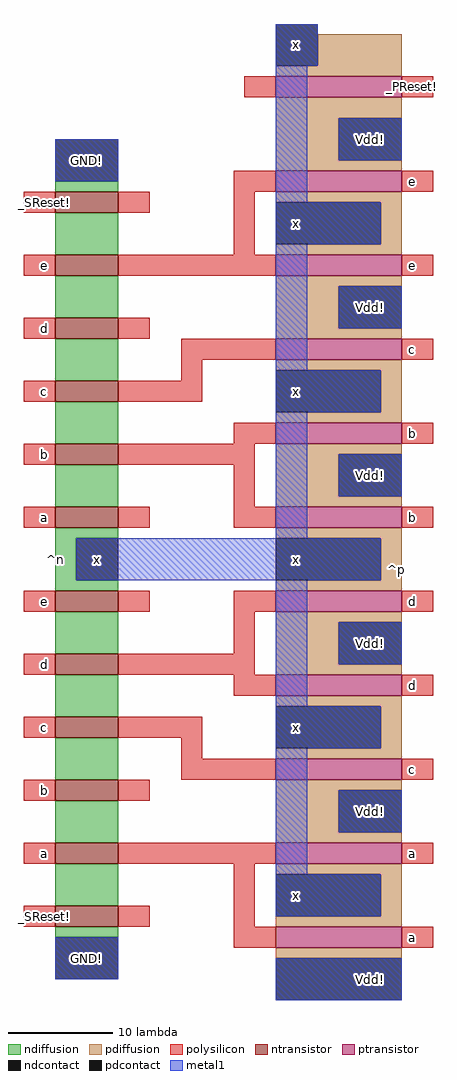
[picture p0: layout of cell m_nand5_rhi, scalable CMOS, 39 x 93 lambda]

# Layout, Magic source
magic
tech scmos
<< ndiffusion >>
rect -220 -724 -214 -723
rect -220 -730 -214 -726
rect -220 -736 -214 -732
rect -220 -742 -214 -738
rect -220 -748 -214 -744
rect -220 -754 -214 -750
rect -220 -757 -214 -756
rect -220 -761 -218 -757
rect -220 -762 -214 -761
rect -220 -768 -214 -764
rect -220 -774 -214 -770
rect -220 -780 -214 -776
rect -220 -786 -214 -782
rect -220 -792 -214 -788
rect -220 -795 -214 -794
<< pdiffusion >>
rect -195 -712 -187 -709
rect -199 -713 -187 -712
rect -199 -717 -187 -715
rect -199 -721 -193 -717
rect -199 -722 -187 -721
rect -199 -725 -187 -724
rect -189 -729 -187 -725
rect -199 -730 -187 -729
rect -199 -733 -187 -732
rect -199 -737 -193 -733
rect -199 -738 -187 -737
rect -199 -741 -187 -740
rect -189 -745 -187 -741
rect -199 -746 -187 -745
rect -199 -749 -187 -748
rect -199 -753 -193 -749
rect -199 -754 -187 -753
rect -199 -757 -187 -756
rect -189 -761 -187 -757
rect -199 -762 -187 -761
rect -199 -765 -187 -764
rect -199 -769 -193 -765
rect -199 -770 -187 -769
rect -199 -773 -187 -772
rect -189 -777 -187 -773
rect -199 -778 -187 -777
rect -199 -781 -187 -780
rect -199 -785 -193 -781
rect -199 -786 -187 -785
rect -199 -789 -187 -788
rect -189 -793 -187 -789
rect -199 -794 -187 -793
rect -199 -797 -187 -796
<< ntransistor >>
rect -220 -726 -214 -724
rect -220 -732 -214 -730
rect -220 -738 -214 -736
rect -220 -744 -214 -742
rect -220 -750 -214 -748
rect -220 -756 -214 -754
rect -220 -764 -214 -762
rect -220 -770 -214 -768
rect -220 -776 -214 -774
rect -220 -782 -214 -780
rect -220 -788 -214 -786
rect -220 -794 -214 -792
<< ptransistor >>
rect -199 -715 -187 -713
rect -199 -724 -187 -722
rect -199 -732 -187 -730
rect -199 -740 -187 -738
rect -199 -748 -187 -746
rect -199 -756 -187 -754
rect -199 -764 -187 -762
rect -199 -772 -187 -770
rect -199 -780 -187 -778
rect -199 -788 -187 -786
rect -199 -796 -187 -794
<< polysilicon >>
rect -202 -715 -199 -713
rect -187 -715 -184 -713
rect -203 -724 -199 -722
rect -187 -724 -184 -722
rect -223 -726 -220 -724
rect -214 -726 -211 -724
rect -203 -730 -201 -724
rect -223 -732 -220 -730
rect -214 -732 -199 -730
rect -187 -732 -184 -730
rect -223 -738 -220 -736
rect -214 -738 -211 -736
rect -208 -740 -199 -738
rect -187 -740 -184 -738
rect -208 -742 -206 -740
rect -223 -744 -220 -742
rect -214 -744 -206 -742
rect -203 -748 -199 -746
rect -187 -748 -184 -746
rect -223 -750 -220 -748
rect -214 -750 -201 -748
rect -203 -754 -201 -750
rect -223 -756 -220 -754
rect -214 -756 -211 -754
rect -203 -756 -199 -754
rect -187 -756 -184 -754
rect -223 -764 -220 -762
rect -214 -764 -211 -762
rect -203 -764 -199 -762
rect -187 -764 -184 -762
rect -203 -768 -201 -764
rect -223 -770 -220 -768
rect -214 -770 -201 -768
rect -203 -772 -199 -770
rect -187 -772 -184 -770
rect -223 -776 -220 -774
rect -214 -776 -206 -774
rect -208 -778 -206 -776
rect -208 -780 -199 -778
rect -187 -780 -184 -778
rect -223 -782 -220 -780
rect -214 -782 -211 -780
rect -223 -788 -220 -786
rect -214 -788 -199 -786
rect -187 -788 -184 -786
rect -223 -794 -220 -792
rect -214 -794 -211 -792
rect -203 -794 -201 -788
rect -203 -796 -199 -794
rect -187 -796 -184 -794
<< ndcontact >>
rect -220 -723 -214 -719
rect -218 -761 -214 -757
rect -220 -799 -214 -795
<< pdcontact >>
rect -199 -712 -195 -708
rect -193 -721 -187 -717
rect -199 -729 -189 -725
rect -193 -737 -187 -733
rect -199 -745 -189 -741
rect -193 -753 -187 -749
rect -199 -761 -189 -757
rect -193 -769 -187 -765
rect -199 -777 -189 -773
rect -193 -785 -187 -781
rect -199 -793 -189 -789
rect -199 -801 -187 -797
<< metal1 >>
rect -199 -712 -195 -708
rect -220 -723 -214 -719
rect -199 -725 -196 -712
rect -193 -721 -187 -717
rect -199 -729 -189 -725
rect -199 -741 -196 -729
rect -193 -737 -187 -733
rect -199 -745 -189 -741
rect -199 -757 -196 -745
rect -193 -753 -187 -749
rect -218 -761 -189 -757
rect -199 -773 -196 -761
rect -193 -769 -187 -765
rect -199 -777 -189 -773
rect -199 -789 -196 -777
rect -193 -785 -187 -781
rect -199 -793 -189 -789
rect -220 -799 -214 -795
rect -199 -801 -187 -797
<< labels >>
rlabel polysilicon -186 -723 -186 -723 3 e
rlabel polysilicon -186 -731 -186 -731 3 e
rlabel polysilicon -186 -739 -186 -739 3 c
rlabel polysilicon -186 -755 -186 -755 3 b
rlabel polysilicon -186 -747 -186 -747 3 b
rlabel polysilicon -186 -771 -186 -771 3 d
rlabel polysilicon -186 -763 -186 -763 3 d
rlabel polysilicon -186 -779 -186 -779 3 c
rlabel polysilicon -186 -795 -186 -795 3 a
rlabel polysilicon -186 -787 -186 -787 3 a
rlabel space -191 -802 -184 -718 3 ^p
rlabel polysilicon -221 -793 -221 -793 3 _SReset!
rlabel polysilicon -221 -725 -221 -725 3 _SReset!
rlabel polysilicon -221 -787 -221 -787 3 a
rlabel polysilicon -221 -781 -221 -781 3 b
rlabel polysilicon -221 -775 -221 -775 3 c
rlabel polysilicon -221 -769 -221 -769 3 d
rlabel polysilicon -221 -763 -221 -763 3 e
rlabel polysilicon -221 -755 -221 -755 3 a
rlabel polysilicon -221 -749 -221 -749 3 b
rlabel polysilicon -221 -743 -221 -743 3 c
rlabel polysilicon -221 -737 -221 -737 3 d
rlabel polysilicon -221 -731 -221 -731 3 e
rlabel space -223 -800 -217 -718 7 ^n
rlabel polysilicon -186 -714 -186 -714 1 _PReset!
rlabel pdcontact -197 -791 -197 -791 1 x
rlabel pdcontact -197 -775 -197 -775 1 x
rlabel pdcontact -197 -759 -197 -759 1 x
rlabel pdcontact -197 -743 -197 -743 1 x
rlabel pdcontact -197 -727 -197 -727 1 x
rlabel pdcontact -190 -719 -190 -719 1 Vdd!
rlabel pdcontact -190 -735 -190 -735 1 Vdd!
rlabel pdcontact -190 -751 -190 -751 1 Vdd!
rlabel pdcontact -190 -767 -190 -767 1 Vdd!
rlabel pdcontact -190 -783 -190 -783 1 Vdd!
rlabel pdcontact -190 -799 -190 -799 1 Vdd!
rlabel ndcontact -216 -759 -216 -759 1 x
rlabel ndcontact -217 -797 -217 -797 1 GND!
rlabel ndcontact -217 -721 -217 -721 5 GND!
rlabel pdcontact -197 -710 -197 -710 1 x
<< end >>
